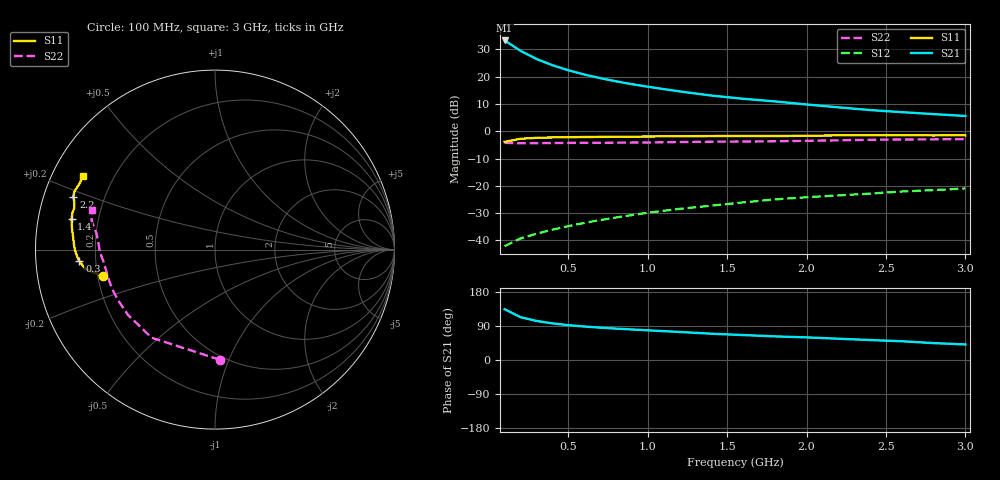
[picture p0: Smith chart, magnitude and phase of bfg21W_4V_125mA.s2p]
! Filename: 4125bfg21.001
! Title: BFG21W
! Bias: Vce=4V; Ic=125mA
! Company: Philips Semiconductors NL
! User: Quality&Reliability T&D
! Measure time: 10 Nov 1999 / 11:45:57
#  MHz  S  MA  R 50
! Freq  S11  S21  S12  S22  :
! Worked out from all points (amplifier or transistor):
!   20 points, 100 MHz to 3 GHz, reference 50 ohm
!   highest |S21| = 33.3 dB at 100 MHz (marker M1)
!   |S21| within 3 dB of that: start of sweep to 179.1 MHz
!   unconditionally stable (mu >= 1): 624.7 MHz to end of sweep
!   at 400 MHz: K = 0.91, MSG = 30.2 dB, |S12| = -36.1 dB
!   at 1.2 GHz: K = 1.06, MAG = 20.0 dB, |S12| = -28.5 dB
!   at 3 GHz: K = 1.05, MAG = 11.9 dB, |S12| = -21.0 dB
!   S11 on the Smith chart (normalised r, x): 100 MHz: 0.22, -0.11; 300 MHz: 0.14, -0.04; 1.4 GHz: 0.10, +0.11; 2.2 GHz: 0.09, +0.18; 3 GHz: 0.09, +0.26
100  0.639 -166.6  46.27 133.9  0.007831 54.2  0.6141 -87.5
200  0.7291 -171.4  29.9 113.0  0.01086 52.7  0.6047 -125.7
300  0.7584 -175.1  21.23 103.0  0.01322 56.1  0.6059 -143.0
400  0.7717 -177.7  16.31 96.7  0.01568 59.6  0.6099 -152.6
500  0.7802 -179.8  13.19 92.0  0.01822 62.7  0.6127 -158.7
600  0.7851 178.4  11.01 88.4  0.02083 64.8  0.6143 -163.0
700  0.7891 176.8  9.455 85.4  0.02352 67.1  0.6153 -166.3
800  0.7928 175.2  8.253 82.8  0.02624 68.6  0.6173 -169.1
900  0.7974 173.8  7.319 80.6  0.02908 70.1  0.6206 -171.6
1000  0.8025 172.4  6.571 78.4  0.03212 70.8  0.6247 -173.7
1200  0.8114 169.8  5.39 74.0  0.0378 71.9  0.635 -177.2
1400  0.8174 167.8  4.525 69.4  0.04332 72.2  0.6438 179.9
1600  0.8201 165.7  3.949 65.8  0.04959 72.5  0.6487 177.3
1800  0.818 163.3  3.531 62.4  0.05642 72.6  0.6568 174.7
2000  0.8266 161.4  3.104 59.7  0.06176 73.0  0.6685 171.9
2200  0.8423 159.4  2.75 56.2  0.06676 72.8  0.6834 169.6
2400  0.8476 157.7  2.451 52.6  0.07196 71.9  0.6983 167.9
2600  0.8438 155.9  2.242 49.5  0.07873 70.8  0.708 166.4
2800  0.839 153.6  2.065 44.6  0.08368 69.1  0.7125 164.4
3000  0.8433 151.1  1.91 41.1  0.08958 68.1  0.7197 161.9
